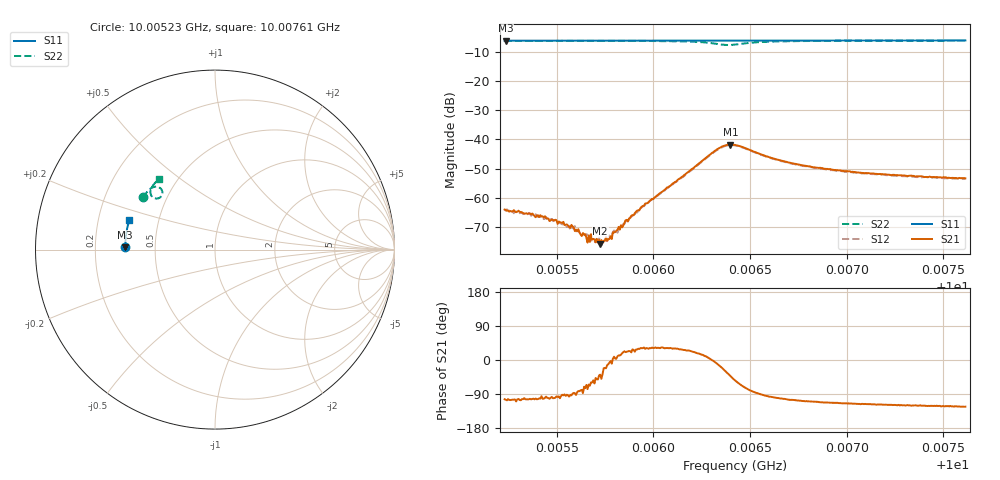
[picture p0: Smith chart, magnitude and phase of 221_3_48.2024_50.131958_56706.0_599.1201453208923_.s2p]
#  HZ  S  RI  R  50.00
! Rohde & Schwarz Vector Network Analyzer
! Rohde-Schwarz,ZNB20-2Port,1311601062101988,3.16
! Created: UTC 3/20/2024, 11:45:57 AM
! freq[Hz]  re:S11  im:S11  re:S21  im:S21  re:S12  im:S12  re:S22  im:S22
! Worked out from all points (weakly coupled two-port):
!   401 points, 10.00523 GHz to 10.00761 GHz, reference 50 ohm
!   highest |S21| = -41.74 dB at 10.0064 GHz (marker M1); lowest = -75.9 dB at 10.00573 GHz (marker M2)
!   lowest |S11| = -6.0 dB at 10.00524 GHz (marker M3), VSWR 3.00, Z = 16.7 + j0.578 ohm
!   |S11| at or under -10 dB: nowhere
!   |S22| runs from -7.5 to -6.0 dB; largest |S21 - S12| = 0.00048
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1.0005231e10  -0.5001 0.0125  -0.000146 -0.000605  -0.000145 -0.000598  -0.4007 0.2916
1.0005237e10  -0.4999 0.013  -0.000159 -0.000591  -0.000133 -0.000579  -0.4004 0.2918
1.0005427e10  -0.5 0.0254  -0.0001 -0.000465  -6.44e-05 -0.000452  -0.3927 0.3033
1.0005487e10  -0.4999 0.0292  -7.3e-05 -0.000395  -3.52e-05 -0.00041  -0.39 0.3068
1.0005576e10  -0.4997 0.035  -1.94e-05 -0.000338  2.2e-05 -0.000304  -0.386 0.3122
1.000563e10  -0.4994 0.0385  4.2e-05 -0.000214  5.82e-05 -0.000247  -0.3835 0.3156
1.0005666e10  -0.4995 0.0406  9.48e-05 -0.000202  0.000107 -0.000219  -0.3815 0.3176
1.0005695e10  -0.4993 0.0428  8.9e-05 -0.000168  0.000106 -0.000137  -0.3799 0.3196
1.0005725e10  -0.4992 0.0447  0.000125 -0.0001  0.000146 -8.91e-05  -0.3785 0.3213
1.0005743e10  -0.4991 0.046  0.000167 -6.67e-05  0.000154 -7.84e-05  -0.3774 0.3225
1.0005773e10  -0.499 0.0478  0.000192 -2.28e-05  0.000219 -3.22e-05  -0.3757 0.3244
1.0005803e10  -0.4988 0.0497  0.000254 1.68e-05  0.000248 2.66e-05  -0.3741 0.3264
1.0005898e10  -0.4983 0.0559  0.000444 0.000223  0.00046 0.000237  -0.3677 0.3327
1.0006029e10  -0.4975 0.0642  0.000979 0.000611  0.00093 0.000642  -0.3567 0.3416
1.0006315e10  -0.4949 0.0828  0.00624 -0.000441  0.0061 -0.000146  -0.2975 0.3335
1.0006363e10  -0.4943 0.0856  0.00702 -0.00322  0.00698 -0.00278  -0.2943 0.3076
1.0006399e10  -0.4941 0.0875  0.00602 -0.00553  0.00617 -0.00508  -0.3072 0.2898
1.0006422e10  -0.494 0.089  0.00475 -0.00649  0.00497 -0.00614  -0.3203 0.2847
1.0006637e10  -0.4923 0.1027  -0.000782 -0.00447  -0.000583 -0.00445  -0.3593 0.3264
1.0006822e10  -0.4902 0.1145  -0.00113 -0.00314  -0.000973 -0.00318  -0.3514 0.348
1.0007221e10  -0.4843 0.1397  -0.00118 -0.00217  -0.00107 -0.00217  -0.3308 0.3751
1.0007614e10  -0.4775 0.1641  -0.00117 -0.00179  -0.00105 -0.00181  -0.3107 0.3951
